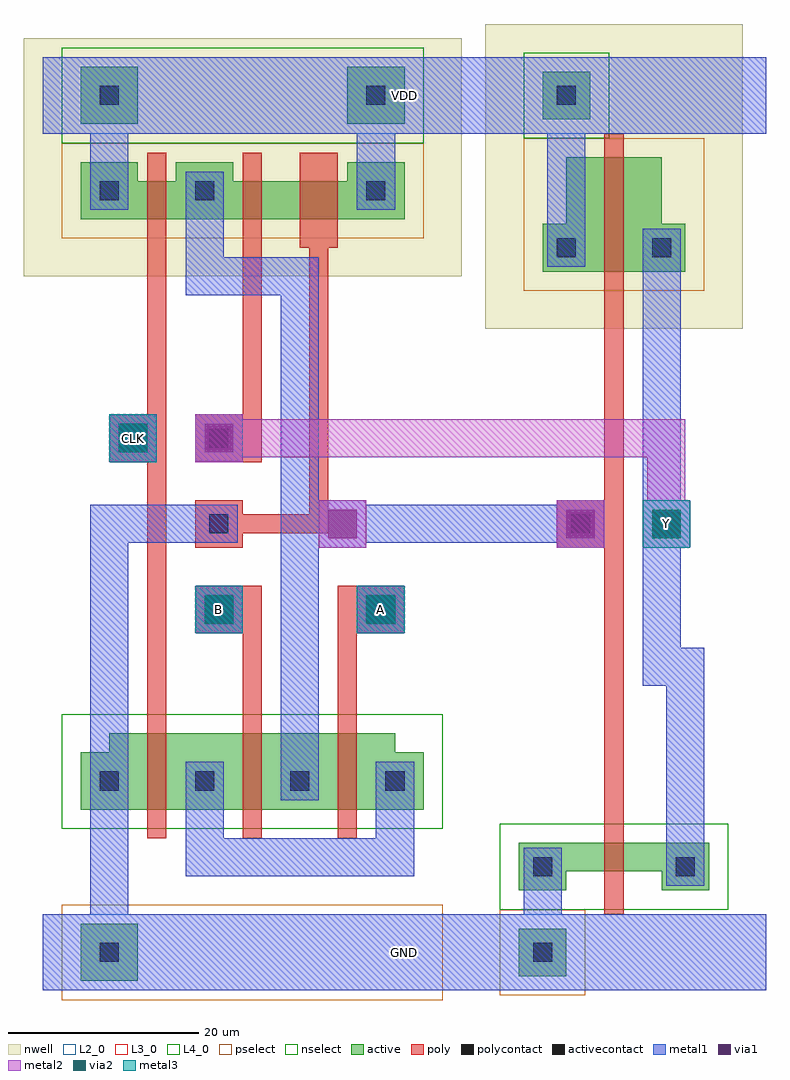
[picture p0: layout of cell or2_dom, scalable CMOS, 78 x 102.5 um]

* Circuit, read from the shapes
.subckt or2_dom A B CLK GND VDD Y
M1 n1 CLK GND GND nfet w=8u l=2u
M2 inv_hskew_1/X B n1 GND nfet w=8u l=2u
M3 n1 A inv_hskew_1/X GND nfet w=8u l=2u
M4 Y inv_hskew_1/X GND GND nfet w=3u l=2u
M5 inv_hskew_1/X CLK VDD VDD pfet w=4u l=2u
M6 n2 Y inv_hskew_1/X VDD pfet w=4u l=2u
M7 VDD GND n2 VDD pfet w=4u l=4u
M8 Y inv_hskew_1/X VDD VDD pfet w=12u l=2u
.ends

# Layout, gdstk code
import gdstk
lib = gdstk.Library(unit=1e-6, precision=1e-09)
def R(c, l, rs):  # rectangles x0, y0, x1, y1
    for r in rs: c.add(gdstk.rectangle(r[:2], r[2:], *l))
def A(c, l, x, y, w, h, nx, ny, dx, dy):  # array of equal rectangles
    R(c, l, [(x+i*dx, y+j*dy, x+i*dx+w, y+j*dy+h) for i in range(nx) for j in range(ny)])
def P(c, l, *ps):  # polygons
    for p in ps: c.add(gdstk.Polygon(p, *l))
L2_0 = (2, 0)
L3_0 = (3, 0)
L4_0 = (4, 0)
nwell = (42, 0)
active = (43, 0)
pselect = (44, 0)
nselect = (45, 0)
poly = (46, 0)
polycontact = (47, 0)
activecontact = (48, 0)
metal1 = (49, 0)
via1 = (50, 0)
metal2 = (51, 0)
via2 = (61, 0)
metal3 = (62, 0)

or2_dyn = lib.new_cell('or2_dyn')
R(or2_dyn, L2_0, [(-9,-84,35,-76), (-9,6,35,14)])
R(or2_dyn, L3_0, [(7,-46.5,12,-41.5), (24,-46.5,29,-41.5), (20,-37.5,25,-32.5), (-2,-28.5,3,-23.5), (7,-28.5,12,-23.5)])
R(or2_dyn, nwell, [(-11,-9,35,16)])
A(or2_dyn, active, 1, -61, 4, 4, 3, 1, 10, 0)
R(or2_dyn, active, [(-5,-83,1,-77), (-5,-65,11,-61), (11,-65,15,-61), (15,-65,21,-57), (21,-65,31,-61), (-5,-61,1,-59), (5,-61,11,-57), (25,-61,31,-59), (-2,-59,1,-57), (25,-59,28,-57), (-5,-3,11,1), (11,-3,16,1), (16,-3,29,1), (-5,1,1,3), (5,1,11,3), (23,1,29,3), (-5,7,1,13), (23,7,29,13)])
R(or2_dyn, pselect, [(-7,-85,33,-75), (-7,-5,31,5)])
R(or2_dyn, nselect, [(-7,-67,33,-55), (-7,5,31,15)])
A(or2_dyn, poly, 2, -68, 2, 10, 3, 1, 10, 0)
A(or2_dyn, poly, 7, -46.5, 5, 5, 1, 3, 0, 9)
R(or2_dyn, poly, [(24,-46.5,29,-41.5), (-2,-28.5,3,-23.5), (2,-6,4,4), (12,-6,14,4), (18,-6,22,4)])
A(or2_dyn, polycontact, 8.5, -45, 2, 2, 1, 3, 0, 9)
R(or2_dyn, polycontact, [(25.5,-45,27.5,-43), (-0.5,-27,1.5,-25)])
A(or2_dyn, activecontact, -3, -63, 2, 2, 4, 1, 10, 0)
R(or2_dyn, activecontact, [(-3,-81,-1,-79), (-3,-1,-1,1), (7,-1,9,1), (25,-1,27,1), (-3,9,-1,11), (25,9,27,11)])
A(or2_dyn, metal1, -4, -64, 4, 4, 4, 1, 10, 0)
R(or2_dyn, metal1, [(-9,-84,35,-76), (-4,-82,0,-78), (6,-72,30,-68), (7,-46.5,12,-41.5), (24,-46.5,29,-41.5), (20,-37.5,25,-32.5), (7.5,-37,11.5,-33), (-2,-28.5,3,-23.5), (7,-28.5,12,-23.5), (6,-11,20,-7), (-4,-2,0,2), (6,-2,10,2), (24,-2,28,2), (-9,6,35,14), (-4,8,0,12), (24,8,28,12)])
R(or2_dyn, via1, [(8,-45.5,11,-42.5), (25,-45.5,28,-42.5), (21,-36.5,24,-33.5), (-1,-27.5,2,-24.5), (8,-27.5,11,-24.5)])
R(or2_dyn, metal2, [(7,-46.5,12,-41.5), (24,-46.5,29,-41.5), (20,-37.5,25,-32.5), (-2,-28.5,3,-23.5), (7,-28.5,12,-23.5)])
or2_dyn.add(gdstk.FlexPath([(-2,8),(-2,2)], 4, ends="flush", simple_path=True, layer=49, datatype=0))  # metal1
or2_dyn.add(gdstk.FlexPath([(-2,-64),(-2,-78)], 4, ends="flush", simple_path=True, layer=49, datatype=0))  # metal1
or2_dyn.add(gdstk.FlexPath([(26,8),(26,2)], 4, ends="flush", simple_path=True, layer=49, datatype=0))  # metal1
or2_dyn.add(gdstk.FlexPath([(8,-2),(8,-7)], 4, ends="flush", simple_path=True, layer=49, datatype=0))  # metal1
or2_dyn.add(gdstk.FlexPath([(8,-64),(8,-68)], 4, ends="flush", simple_path=True, layer=49, datatype=0))  # metal1
or2_dyn.add(gdstk.FlexPath([(28,-64),(28,-68)], 4, ends="flush", simple_path=True, layer=49, datatype=0))  # metal1
or2_dyn.add(gdstk.FlexPath([(18,-60),(18,-11)], 4, ends="flush", simple_path=True, layer=49, datatype=0))  # metal1
or2_dyn.add(gdstk.FlexPath([(7.5,-35),(-2,-35),(-2,-60)], 4, ends="flush", simple_path=True, layer=49, datatype=0))  # metal1
or2_dyn.add(gdstk.FlexPath([(3,-58),(3,-6)], 2, ends="flush", simple_path=True, layer=46, datatype=0))  # poly
or2_dyn.add(gdstk.FlexPath([(23,-58),(23,-41.5)], 2, ends="flush", simple_path=True, layer=46, datatype=0))  # poly
or2_dyn.add(gdstk.FlexPath([(16,-35),(12,-35)], 2, ends="flush", simple_path=True, layer=46, datatype=0))  # poly
or2_dyn.add(gdstk.FlexPath([(20,-6),(20,-35),(16,-35)], 2, ends="flush", simple_path=True, layer=46, datatype=0))  # poly
or2_dyn.add(gdstk.FlexPath([(13,-58),(13,-41.5)], 2, ends="flush", simple_path=True, layer=46, datatype=0))  # poly
or2_dyn.add(gdstk.FlexPath([(13,-6),(13,-28.5)], 2, ends="flush", simple_path=True, layer=46, datatype=0))  # poly
or2_dyn.add(gdstk.Label('GND', (13,-80), layer=2, texttype=0))
or2_dyn.add(gdstk.Label('VDD', (13,10), layer=2, texttype=0))
or2_dyn.add(gdstk.Label('CLK', (0.5,-26), layer=3, texttype=0))
or2_dyn.add(gdstk.Label('Y', (9.5,-26), layer=3, texttype=0))
or2_dyn.add(gdstk.Label('B', (9.5,-44), layer=3, texttype=0))
or2_dyn.add(gdstk.Label('A', (26.5,-44), layer=3, texttype=0))
or2_dyn.add(gdstk.Label('X', (22.5,-35), layer=3, texttype=0))

inv_hskew = lib.new_cell('inv_hskew')
R(inv_hskew, L2_0, [(-11,-94.5,21,-86.5), (-11,-4.5,21,3.5)])
R(inv_hskew, L3_0, [(-1,-48,4,-43), (8,-48,13,-43)])
R(inv_hskew, nwell, [(-8.5,-25,18.5,7)])
R(inv_hskew, active, [(-5,-93,0,-88), (-2.5,-3,2.5,2)])
P(inv_hskew, active, [(-5,-84),(0,-84),(0,-82),(10,-82),(10,-84),(15,-84),(15,-79),(-5,-79)],
  [(-2.5,-19),(12.5,-19),(12.5,-14),(10,-14),(10,-7),(0,-7),(0,-14),(-2.5,-14)])
R(inv_hskew, pselect, [(-7,-95,2,-86), (-4.5,-21,14.5,-5)])
R(inv_hskew, nselect, [(-7,-86,17,-77), (-4.5,-5,4.5,4)])
R(inv_hskew, poly, [(4,-86.5,6,-78), (-1,-48,4,-43), (4,-13,6,-4.5)])
R(inv_hskew, polycontact, [(0.5,-46.5,2.5,-44.5)])
R(inv_hskew, activecontact, [(-3.5,-91.5,-1.5,-89.5), (-3.5,-82.5,-1.5,-80.5), (11.5,-82.5,13.5,-80.5), (-1,-17.5,1,-15.5), (9,-17.5,11,-15.5), (-1,-1.5,1,0.5)])
R(inv_hskew, metal1, [(-11,-94.5,21,-86.5), (-4.5,-92.5,-0.5,-88.5), (-4.5,-83.5,-0.5,-79.5), (10.5,-83.5,14.5,-79.5), (-1,-48,4,-43), (8,-48,13,-43), (-2,-18.5,2,-14.5), (8,-18.5,12,-14.5), (-11,-4.5,21,3.5), (-2,-2.5,2,1.5)])
R(inv_hskew, via1, [(0,-47,3,-44), (9,-47,12,-44)])
R(inv_hskew, metal2, [(-1,-48,4,-43), (8,-48,13,-43)])
inv_hskew.add(gdstk.FlexPath([(5,-13),(5,-78)], 2, ends="flush", simple_path=True, layer=46, datatype=0))  # poly
inv_hskew.add(gdstk.FlexPath([(10,-48),(10,-60.5),(12.5,-60.5),(12.5,-79.5)], 4, ends="flush", simple_path=True, layer=49, datatype=0))  # metal1
inv_hskew.add(gdstk.FlexPath([(-2.5,-83.5),(-2.5,-88.5)], 4, ends="flush", simple_path=True, layer=49, datatype=0))  # metal1
inv_hskew.add(gdstk.FlexPath([(0,-14.5),(0,-2.5)], 4, ends="flush", simple_path=True, layer=49, datatype=0))  # metal1
inv_hskew.add(gdstk.FlexPath([(10,-18.5),(10,-43)], 4, ends="flush", simple_path=True, layer=49, datatype=0))  # metal1
inv_hskew.add(gdstk.Label('VDD', (5,-0.5), layer=2, texttype=0))
inv_hskew.add(gdstk.Label('GND', (5,-90.5), layer=2, texttype=0))
inv_hskew.add(gdstk.Label('X', (1.5,-45.5), layer=3, texttype=0))
inv_hskew.add(gdstk.Label('Y', (10.5,-45.5), layer=3, texttype=0))

or2_dom = lib.new_cell('or2_dom')
R(or2_dom, L2_0, [(-9,-84,67,-76), (-9,6,67,14)])
R(or2_dom, L4_0, [(7,-46.5,12,-41.5), (24,-46.5,29,-41.5), (54,-37.5,59,-32.5), (-2,-28.5,3,-23.5)])
R(or2_dom, via2, [(8,-45.5,11,-42.5), (25,-45.5,28,-42.5), (55,-36.5,58,-33.5), (-1,-27.5,2,-24.5)])
R(or2_dom, metal3, [(7,-46.5,12,-41.5), (24,-46.5,29,-41.5), (54,-37.5,59,-32.5), (-2,-28.5,3,-23.5)])
or2_dom.add(gdstk.FlexPath([(25,-35),(45,-35)], 4, ends="flush", simple_path=True, layer=49, datatype=0))  # metal1
or2_dom.add(gdstk.FlexPath([(12,-26),(56.5,-26),(56.5,-32.5)], 4, ends="flush", simple_path=True, layer=51, datatype=0))  # metal2
or2_dom.add(gdstk.Reference(or2_dyn, (0,0)))
or2_dom.add(gdstk.Reference(inv_hskew, (46,10.5)))
or2_dom.add(gdstk.Label('VDD', (29,10), layer=2, texttype=0))
or2_dom.add(gdstk.Label('GND', (29,-80), layer=2, texttype=0))
or2_dom.add(gdstk.Label('CLK', (0.5,-26), layer=4, texttype=0))
or2_dom.add(gdstk.Label('B', (9.5,-44), layer=4, texttype=0))
or2_dom.add(gdstk.Label('A', (26.5,-44), layer=4, texttype=0))
or2_dom.add(gdstk.Label('Y', (56.5,-35), layer=4, texttype=0))

lib.write_gds('or2_dom.gds')
